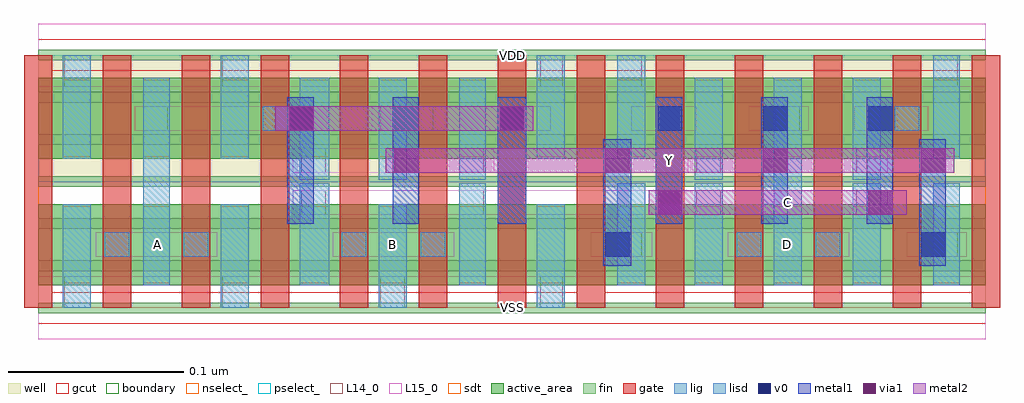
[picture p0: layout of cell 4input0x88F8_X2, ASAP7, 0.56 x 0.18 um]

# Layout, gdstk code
import gdstk
lib = gdstk.Library(unit=1e-6, precision=1e-09)
def R(c, l, rs):  # rectangles x0, y0, x1, y1
    for r in rs: c.add(gdstk.rectangle(r[:2], r[2:], *l))
def A(c, l, x, y, w, h, nx, ny, dx, dy):  # array of equal rectangles
    R(c, l, [(x+i*dx, y+j*dy, x+i*dx+w, y+j*dy+h) for i in range(nx) for j in range(ny)])
def P(c, l, *ps):  # polygons
    for p in ps: c.add(gdstk.Polygon(p, *l))
well = (1, 0)
fin = (2, 0)
gate = (7, 0)
gcut = (10, 0)
active_area = (11, 0)
nselect_ = (12, 0)
pselect_ = (13, 0)
L14_0 = (14, 0)
L15_0 = (15, 0)
lig = (16, 0)
lisd = (17, 0)
v0 = (18, 0)
metal1 = (19, 0)
metal2 = (20, 0)
via1 = (21, 0)
sdt = (88, 0)
boundary = (100, 0)

c_4input0x88f8_x2 = lib.new_cell('4input0x88F8_X2')
R(c_4input0x88f8_x2, well, [(0,0.072,0.54,0.144)])
A(c_4input0x88f8_x2, fin, 0, -0.003, 0.54, 0.006, 1, 7, 0, 0.024)
A(c_4input0x88f8_x2, gate, -0.008, 0, 0.016, 0.144, 13, 1, 0.045, 0)
P(c_4input0x88f8_x2, gcut, [(0,-0.009),(0,0),(-0.008,0),(-0.008,0.135),(0.008,0.135),(0.008,0.009),(0.307,0.009),(0.307,0.135),(0.323,0.135),(0.323,0.009),(0.532,0.009),(0.532,0.135),(-0.008,0.135),(-0.008,0.144),(0,0.144),(0,0.153),(0.54,0.153),(0.54,0.144),(0.548,0.144),(0.548,0),(0.54,0),(0.54,-0.009)])
R(c_4input0x88f8_x2, active_area, [(0,0.013,0.54,0.059), (0,0.085,0.54,0.131)])
R(c_4input0x88f8_x2, nselect_, [(0,0,0.54,0.072)])
R(c_4input0x88f8_x2, pselect_, [(0,0.072,0.54,0.144)])
R(c_4input0x88f8_x2, L14_0, [(0.015,0,0.03,0.018), (0.105,0,0.12,0.018), (0.195,0,0.209,0.018), (0.286,0,0.299,0.018), (0.038,0.029,0.052,0.043), (0.083,0.029,0.097,0.043), (0.173,0.029,0.187,0.043), (0.218,0.029,0.232,0.043), (0.33,0.029,0.344,0.043), (0.398,0.029,0.412,0.043), (0.443,0.029,0.457,0.043), (0.51,0.029,0.524,0.043), (0.15,0.053,0.164,0.067), (0.24,0.053,0.254,0.067), (0.375,0.053,0.389,0.067), (0.466,0.053,0.48,0.067), (0.15,0.077,0.164,0.091), (0.24,0.077,0.254,0.091), (0.375,0.077,0.389,0.091), (0.466,0.077,0.48,0.091), (0.06,0.101,0.074,0.115), (0.128,0.101,0.142,0.115), (0.195,0.101,0.209,0.115), (0.263,0.101,0.277,0.115), (0.353,0.101,0.367,0.115), (0.42,0.101,0.434,0.115), (0.488,0.101,0.502,0.115), (0.015,0.126,0.03,0.144), (0.105,0.126,0.12,0.144), (0.286,0.126,0.299,0.144), (0.33,0.126,0.344,0.144), (0.51,0.126,0.524,0.144)])
R(c_4input0x88f8_x2, L15_0, [(0,-0.018,0.54,0.018), (0.033,0.029,0.102,0.043), (0.168,0.029,0.237,0.043), (0.315,0.029,0.35,0.043), (0.393,0.029,0.462,0.043), (0.495,0.029,0.529,0.043), (0.145,0.053,0.484,0.067), (0.145,0.077,0.26,0.091), (0.37,0.077,0.484,0.091), (0.055,0.101,0.165,0.115), (0.19,0.101,0.225,0.115), (0.255,0.101,0.292,0.115), (0.338,0.101,0.375,0.115), (0.405,0.101,0.439,0.115), (0.465,0.101,0.507,0.115), (0,0.126,0.54,0.162)])
R(c_4input0x88f8_x2, lig, [(0.038,0.029,0.052,0.043), (0.083,0.029,0.097,0.043), (0.173,0.029,0.187,0.043), (0.218,0.029,0.232,0.043), (0.398,0.029,0.412,0.043), (0.443,0.029,0.457,0.043), (0.128,0.101,0.142,0.115), (0.263,0.101,0.277,0.115), (0.353,0.101,0.367,0.115), (0.488,0.101,0.502,0.115)])
A(c_4input0x88f8_x2, lisd, 0.014, 0, 0.016, 0.059, 4, 1, 0.09, 0)
R(c_4input0x88f8_x2, lisd, [(0.06,0.013,0.075,0.131), (0.149,0.013,0.166,0.071), (0.24,0.013,0.255,0.071), (0.33,0.013,0.346,0.071), (0.374,0.013,0.39,0.071), (0.419,0.013,0.435,0.131), (0.464,0.013,0.48,0.071), (0.51,0.013,0.525,0.071), (0.149,0.073,0.166,0.131), (0.194,0.073,0.21,0.131), (0.24,0.073,0.255,0.131), (0.374,0.073,0.39,0.131), (0.464,0.073,0.48,0.131), (0.014,0.085,0.03,0.144), (0.104,0.085,0.12,0.144), (0.284,0.085,0.3,0.144), (0.33,0.085,0.346,0.144), (0.51,0.085,0.525,0.144)])
A(c_4input0x88f8_x2, v0, 0.143, 0.101, 0.014, 0.014, 3, 1, 0.06, 0)
A(c_4input0x88f8_x2, v0, 0.353, 0.101, 0.014, 0.014, 3, 1, 0.06, 0)
R(c_4input0x88f8_x2, v0, [(0.323,0.029,0.337,0.043), (0.503,0.029,0.517,0.043)])
A(c_4input0x88f8_x2, metal1, 0.352, 0.048, 0.015, 0.072, 3, 1, 0.06, 0)
R(c_4input0x88f8_x2, metal1, [(0.322,0.024,0.338,0.096), (0.502,0.024,0.517,0.096), (0.142,0.048,0.157,0.12), (0.202,0.048,0.217,0.12), (0.262,0.048,0.278,0.12)])
R(c_4input0x88f8_x2, metal2, [(0.348,0.053,0.495,0.067), (0.198,0.077,0.522,0.091), (0.135,0.101,0.282,0.115)])
A(c_4input0x88f8_x2, via1, 0.323, 0.077, 0.014, 0.014, 3, 1, 0.09, 0)
R(c_4input0x88f8_x2, via1, [(0.353,0.053,0.367,0.067), (0.473,0.053,0.487,0.067), (0.203,0.077,0.217,0.091), (0.143,0.101,0.157,0.115), (0.263,0.101,0.277,0.115)])
A(c_4input0x88f8_x2, sdt, 0.014, 0.014, 0.016, 0.044, 4, 2, 0.09, 0.072)
A(c_4input0x88f8_x2, sdt, 0.374, 0.014, 0.016, 0.044, 3, 2, 0.045, 0.072)
R(c_4input0x88f8_x2, sdt, [(0.06,0.014,0.075,0.058), (0.149,0.014,0.166,0.058), (0.24,0.014,0.255,0.058), (0.33,0.014,0.346,0.058), (0.51,0.014,0.525,0.058), (0.06,0.086,0.075,0.13), (0.149,0.086,0.166,0.13), (0.24,0.086,0.255,0.13), (0.33,0.086,0.346,0.13), (0.51,0.086,0.525,0.13)])
R(c_4input0x88f8_x2, boundary, [(0,0,0.54,0.144)])
c_4input0x88f8_x2.add(gdstk.Label('VSS', (0.27,0), layer=15, texttype=251))
c_4input0x88f8_x2.add(gdstk.Label('VDD', (0.27,0.144), layer=15, texttype=251))
c_4input0x88f8_x2.add(gdstk.Label('VSS', (0.27,0), layer=15, texttype=251))
c_4input0x88f8_x2.add(gdstk.Label('VDD', (0.27,0.144), layer=15, texttype=251))
c_4input0x88f8_x2.add(gdstk.Label('D', (0.427,0.036), layer=15, texttype=251))
c_4input0x88f8_x2.add(gdstk.Label('VSS', (0.27,0), layer=15, texttype=251))
c_4input0x88f8_x2.add(gdstk.Label('VDD', (0.27,0.144), layer=15, texttype=251))
c_4input0x88f8_x2.add(gdstk.Label('B', (0.202,0.036), layer=15, texttype=251))
c_4input0x88f8_x2.add(gdstk.Label('VSS', (0.27,0), layer=15, texttype=251))
c_4input0x88f8_x2.add(gdstk.Label('VDD', (0.27,0.144), layer=15, texttype=251))
c_4input0x88f8_x2.add(gdstk.Label('A', (0.068,0.036), layer=15, texttype=251))
c_4input0x88f8_x2.add(gdstk.Label('VSS', (0.27,0), layer=15, texttype=251))
c_4input0x88f8_x2.add(gdstk.Label('VDD', (0.27,0.144), layer=15, texttype=251))
c_4input0x88f8_x2.add(gdstk.Label('Y', (0.36,0.084), layer=20, texttype=251))
c_4input0x88f8_x2.add(gdstk.Label('C', (0.427,0.06), layer=20, texttype=251))
c_4input0x88f8_x2.add(gdstk.Label('VSS', (0.27,0), layer=3, texttype=251))
c_4input0x88f8_x2.add(gdstk.Label('VSS', (0.27,0), layer=3, texttype=251))
c_4input0x88f8_x2.add(gdstk.Label('VSS', (0.27,0), layer=3, texttype=251))
c_4input0x88f8_x2.add(gdstk.Label('VSS', (0.27,0), layer=3, texttype=251))
c_4input0x88f8_x2.add(gdstk.Label('VSS', (0.27,0), layer=3, texttype=251))
c_4input0x88f8_x2.add(gdstk.Label('VDD', (0.27,0.144), layer=1, texttype=251))
c_4input0x88f8_x2.add(gdstk.Label('VDD', (0.27,0.144), layer=1, texttype=251))
c_4input0x88f8_x2.add(gdstk.Label('VDD', (0.27,0.144), layer=1, texttype=251))
c_4input0x88f8_x2.add(gdstk.Label('VDD', (0.27,0.144), layer=1, texttype=251))
c_4input0x88f8_x2.add(gdstk.Label('VDD', (0.27,0.144), layer=1, texttype=251))

lib.write_gds('4input0x88F8_X2.gds')
